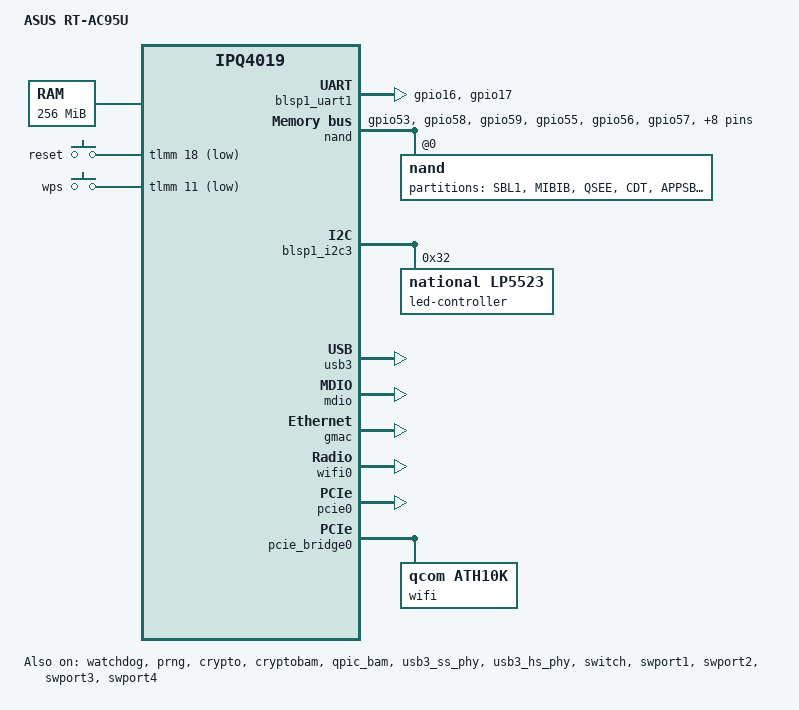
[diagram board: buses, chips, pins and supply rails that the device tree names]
// SPDX-License-Identifier: GPL-2.0-or-later OR MIT

#include "qcom-ipq4019.dtsi"
#include <dt-bindings/gpio/gpio.h>
#include <dt-bindings/input/input.h>
#include <dt-bindings/leds/common.h>
#include <dt-bindings/soc/qcom,tcsr.h>

/ {
	model = "ASUS RT-AC95U";
	compatible = "asus,rt-ac95u";

	memory {
		device_type = "memory";
		reg = <0x80000000 0x10000000>; /* 256MB */
	};

	aliases {
		// TODO: Verify if the ethernet0 alias is needed
		ethernet0 = &gmac;
		led-boot = &led_power;
		led-failsafe = &led_power;
		led-running = &led_power;
		led-upgrade = &led_power;
	};

	soc {
		tcsr@1949000 {
			compatible = "qcom,tcsr";
			reg = <0x1949000 0x100>;
			qcom,wifi_glb_cfg = <TCSR_WIFI_GLB_CFG>;
		};

		tcsr@194b000 {
			compatible = "qcom,tcsr";
			reg = <0x194b000 0x100>;
			qcom,usb-hsphy-mode-select = <TCSR_USB_HSPHY_HOST_MODE>;
		};

		ess_tcsr@1953000 {
			compatible = "qcom,tcsr";
			reg = <0x1953000 0x1000>;
			qcom,ess-interface-select = <TCSR_ESS_PSGMII>;
		};

		tcsr@1957000 {
			compatible = "qcom,tcsr";
			reg = <0x1957000 0x100>;
			qcom,wifi_noc_memtype_m0_m2 = <TCSR_WIFI_NOC_MEMTYPE_M0_M2>;
		};
	};

	keys {
		compatible = "gpio-keys";

		reset {
			label = "reset";
			gpios = <&tlmm 18 GPIO_ACTIVE_LOW>;
			linux,code = <KEY_RESTART>;
		};

		wps {
			label = "wps";
			gpios = <&tlmm 11 GPIO_ACTIVE_LOW>;
			linux,code = <KEY_WPS_BUTTON>;
		};
	};
};

&watchdog {
	status = "okay";
};

&prng {
	status = "okay";
};

&crypto {
	status = "okay";
};

&cryptobam {
	status = "okay";
};

&blsp_dma {
	status = "okay";
};

&qpic_bam {
	status = "okay";
};

&tlmm {
	serial_0_pins: serial0_pinmux {
		mux {
			pins = "gpio16", "gpio17";
			function = "blsp_uart0";
			bias-disable;
		};
	};

	nand_pins: nand_pins {
		pullups {
			pins = "gpio53", "gpio58", "gpio59";
			function = "qpic";
			bias-pull-up;
		};

		pulldowns {
			pins = "gpio55", "gpio56", "gpio57", "gpio60",
				"gpio62", "gpio63", "gpio64", "gpio65",
				"gpio66", "gpio67", "gpio69";
			function = "qpic";
			bias-pull-down;
		};
	};
};

&blsp1_uart1 {
	pinctrl-0 = <&serial_0_pins>;
	pinctrl-names = "default";
	status = "okay";
};

&nand {
	pinctrl-0 = <&nand_pins>;
	pinctrl-names = "default";
	status = "okay";

	nand@0 {
		partitions {
			compatible = "fixed-partitions";
			#address-cells = <1>;
			#size-cells = <1>;

			partition@0 {
				label = "SBL1";
				reg = <0x00000000 0x00080000>;
				read-only;
			};
			partition@80000 {
				label = "MIBIB";
				reg = <0x00080000 0x00080000>;
				read-only;
			};
			partition@100000 {
				label = "QSEE";
				reg = <0x00100000 0x00100000>;
				read-only;
			};
			partition@200000 {
				label = "CDT";
				reg = <0x00200000 0x00080000>;
				read-only;
			};
			partition@280000 {
				label = "APPSBL";
				reg = <0x00280000 0x00140000>;
				read-only;
			};
			partition@3C0000 {
				label = "APPSBLENV";
				reg = <0x003C0000 0x00040000>;
				read-only;
			};
			partition@400000 {
				label = "ubi";
				reg = <0x00400000 0x07C00000>;
			};
		};
	};
};

&blsp1_i2c3 {
	pinctrl-0 = <&i2c_0_pins>;
	pinctrl-names = "default";
	status = "okay";

	led-controller@32 {
		/* 9-channel RGB LED controller */
		compatible = "national,lp5523";
		reg = <0x32>;
		clock-mode = /bits/ 8 <1>;
		#address-cells = <1>;
		#size-cells = <0>;

		/*
		 * There is only one single extremely bright RGB-LED.
		 * The RGB-color channels are running in parallel to
		 * increase the current delivery capabilities beyond
		 * what a single PWM-output of the controller can do.
		 */

		led_blue0: led@0 {
			chan-name = "blue-0";
			led-cur = /bits/ 8 <0xfa>;
			max-cur = /bits/ 8 <0xff>;
			reg = <0>;
			color = <LED_COLOR_ID_BLUE>;
			function-enumerator = <0>;
		};

		led@1 {
			chan-name = "blue-1";
			led-cur = /bits/ 8 <0xfa>;
			max-cur = /bits/ 8 <0xff>;
			reg = <1>;
			color = <LED_COLOR_ID_BLUE>;
			function-enumerator = <1>;
		};

		led@2 {
			chan-name = "blue-2";
			led-cur = /bits/ 8 <0xfa>;
			max-cur = /bits/ 8 <0xff>;
			reg = <2>;
			color = <LED_COLOR_ID_BLUE>;
			function-enumerator = <2>;
		};

		led_green0: led@3 {
			chan-name = "green-0";
			led-cur = /bits/ 8 <0xfa>;
			max-cur = /bits/ 8 <0xff>;
			reg = <3>;
			color = <LED_COLOR_ID_GREEN>;
			function-enumerator = <0>;
		};

		led@4 {
			chan-name = "green-1";
			led-cur = /bits/ 8 <0xfa>;
			max-cur = /bits/ 8 <0xff>;
			reg = <4>;
			color = <LED_COLOR_ID_GREEN>;
			function-enumerator = <1>;
		};

		led@5 {
			chan-name = "green-2";
			led-cur = /bits/ 8 <0xfa>;
			max-cur = /bits/ 8 <0xff>;
			reg = <5>;
			color = <LED_COLOR_ID_GREEN>;
			function-enumerator = <2>;
		};

		led_red0: led@6 {
			chan-name = "red-0";
			led-cur = /bits/ 8 <0xfa>;
			max-cur = /bits/ 8 <0xff>;
			reg = <6>;
			color = <LED_COLOR_ID_RED>;
			function-enumerator = <0>;
		};

		led@7 {
			chan-name = "red-1";
			led-cur = /bits/ 8 <0xfa>;
			max-cur = /bits/ 8 <0xff>;
			reg = <7>;
			color = <LED_COLOR_ID_RED>;
			function-enumerator = <1>;
		};

		led@8 {
			chan-name = "red-2";
			led-cur = /bits/ 8 <0xfa>;
			max-cur = /bits/ 8 <0xff>;
			reg = <8>;
			color = <LED_COLOR_ID_RED>;
			function-enumerator = <2>;
		};
	};
};

&usb3_ss_phy {
	status = "okay";
};

&usb3_hs_phy {
	status = "okay";
};

&usb3 {
	status = "okay";
};

&usb3_dwc {
	#address-cells = <1>;
	#size-cells = <0>;

	usb3_port1: port@1 {
		reg = <1>;
		#trigger-source-cells = <0>;
	};

	usb3_port2: port@2 {
		reg = <2>;
		#trigger-source-cells = <0>;
	};
};

&mdio {
	status = "okay";
};

&gmac {
	status = "okay";
};

&switch {
	status = "okay";
};

&swport1 {
	status = "okay";
};

&swport2 {
	status = "okay";
};

&swport3 {
	status = "okay";
};

&swport4 {
	status = "okay";
};

&wifi0 {
	status = "okay";
	qcom,ath10k-calibration-variant = "ASUS-RT-AC95U";
};

&pcie0 {
	status = "okay";
	perst-gpios = <&tlmm 38 GPIO_ACTIVE_LOW>;
	wake-gpios = <&tlmm 50 GPIO_ACTIVE_LOW>;
	clkreq-gpios = <&tlmm 39 GPIO_ACTIVE_LOW>;
};

&pcie_bridge0 {
	wifi@0,0 {
		compatible = "qcom,ath10k";
		reg = <0x00010000 0 0 0 0>;
		qcom,ath10k-calibration-variant = "ASUS-RT-AC95U";
	};
};
